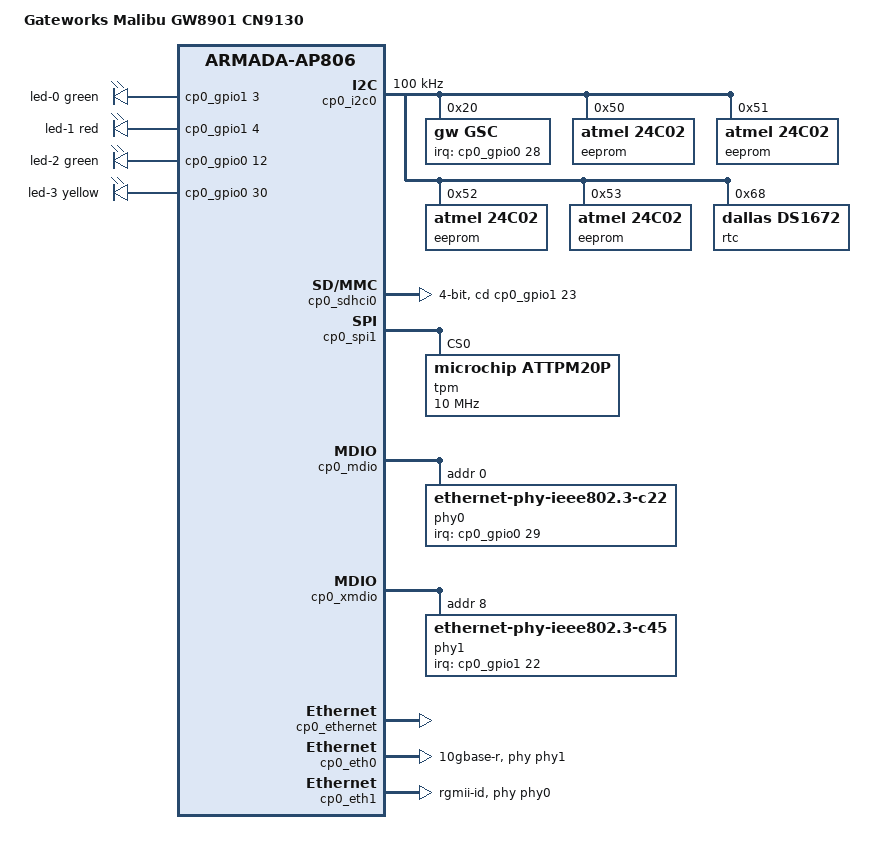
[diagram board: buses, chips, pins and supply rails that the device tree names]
// SPDX-License-Identifier: GPL-2.0+
/*
 * Copyright (C) 2022 Gateworks Corporation
 */

#include "cn9130-malibu.dtsi"
#include <dt-bindings/gpio/gpio.h>
#include <dt-bindings/leds/common.h>

/ {
	model = "Gateworks Malibu GW8901 CN9130";
	compatible = "gateworks,gw8901",
		"marvell,cn9130",
		"marvell,armada-ap806-quad",
		"marvell,armada-ap806";

	aliases {
		i2c0 = &cp0_i2c0;
		ethernet0 = &cp0_eth0;
		ethernet1 = &cp0_eth1;
		gpio0 = &ap_gpio0;
		gpio1 = &cp0_gpio0;
		gpio2 = &cp0_gpio1;
	};

	led-controller {
		pinctrl-names = "default";
		pinctrl-0 = <&cp0_led_pins>;
		compatible = "gpio-leds";

		led-0 {
			function = LED_FUNCTION_HEARTBEAT;
			color = <LED_COLOR_ID_GREEN>;
			gpios = <&cp0_gpio1 3 GPIO_ACTIVE_HIGH>; /* CP_MPP[35] */
			default-state = "on";
			linux,default-trigger = "heartbeat";
		};

		led-1 {
			function = LED_FUNCTION_STATUS;
			color = <LED_COLOR_ID_RED>;
			gpios = <&cp0_gpio1 4 GPIO_ACTIVE_HIGH>; /* CP_MPP[36] */
			default-state = "off";
		};

		led-2 {
			function = LED_FUNCTION_STATUS;
			color = <LED_COLOR_ID_GREEN>;
			gpios = <&cp0_gpio0 12 GPIO_ACTIVE_HIGH>; /* CP_MPP[12] */
			default-state = "off";
		};

		led-3 {
			function = LED_FUNCTION_STATUS;
			color = <LED_COLOR_ID_YELLOW>;
			gpios = <&cp0_gpio0 30 GPIO_ACTIVE_HIGH>; /* CP_MPP[30] */
			default-state = "off";
		};
	};
};

&cp0_comphy {
	phy0 {
		phy-type = <COMPHY_TYPE_PEX0>;
	};

	phy1 {
		phy-type = <COMPHY_TYPE_PEX0>;
	};

	phy2 {
		phy-type = <COMPHY_TYPE_PEX0>;
	};

	phy3 {
		phy-type = <COMPHY_TYPE_PEX0>;
	};

	phy4 {
		phy-type = <COMPHY_TYPE_SFI0>;
		phy-speed = <COMPHY_SPEED_10_3125G>;
	};
};
		
&cp0_pcie0 {
	num-lanes = <4>;
		/* non-prefetchable memory */
	ranges =<0x82000000 0 0xc0000000 0 0xc0000000 0 0x2000000>;
	status = "disabled";
};

&cp0_pinctl {
	/* MPP Bus:
	 *  [0-11]	RGMII1 (3)
	 *  [12-33]	GPIO (0)
	 *  [34]	PCIE0_CLKREQn (9)
	 *  [35-36]	GPIO (0)
	 *  [37-38]	I2C (2)
	 *  [39]	GPIO (0)
	 *  [40-43]	SMI/XMI (8)
	 *  [44-46]	GPIO (0)
	 *  [47-50]	SPI (5)
	 *  [51]	GPIO (0)
	 *  [52]	PCIE_RSTn (9)
	 *  [53-54]	GPIO (0)
	 *  [55]	SD_DET (0xb)
	 *  [56-62]	SDIO (0xe)
	 */
		/*   0   1   2   3   4   5   6   7   8   9 */
	pin-func = < 3   3   3   3   3   3   3   3   3   3
		     3   3   0   0   0   0   0   0   0   0
		     0   0   0   0   0   0   0   0   0   0
		     0   0   0   0   9   0   0   2   2   0
		     8   8   8   8   0   0   0   5   5   5
		     5   0   0   0   0   0xb 0xe 0xe 0xe 0xe
		     0xe 0xe 0xe>;

	cp0_gsc_pins: cp0-gsc-pins-0 {
		marvell,pins = < 28 >;
		marvell,function = <0>;
	};

	cp0_led_pins: cp0-led-pins-0 {
		marvell,pins = < 12 30 35 36 >;
		marvell,function = <0>;
	};

	cp0_sdhci_cd_pins_gw8901: cp0-sdhci-cd-pins-gw8901 {
		marvell,pins = < 55 >;
		marvell,function = <0>;
	};

	cp0_spi1_pins_gw8901: cp0-spi-pins-1-gw8901 {
		marvell,pins = < 47 48 49 50 >;
		marvell,function = <6>;
	};

	cp0_smi_pins_gw8901: cp0-smi-pins-gw8901 {
		marvell,pins = < 40 41 >;
		marvell,function = <8>;
	};

	cp0_xsmi_pins_gw8901: cp0-xsmi-pins-gw8901 {
		marvell,pins = < 42 43 >;
		marvell,function = <8>;
	};
};

&cp0_i2c0 {
	pinctrl-names = "default";
	pinctrl-0 = <&cp0_i2c0_pins>;
	status = "okay";
	clock-frequency = <100000>;

	gsc: gsc@20 {
		pinctrl-names = "default";
		pinctrl-0 = <&cp0_gsc_pins>;
		compatible = "gw,gsc";
		reg = <0x20>;
		interrupt-parent = <&cp0_gpio0>;
		interrupts = <28 IRQ_TYPE_EDGE_FALLING>;
		interrupt-controller;
		#interrupt-cells = <1>;

		adc {
			compatible = "gw,gsc-adc";
			#address-cells = <1>;
			#size-cells = <0>;

			channel@6 {
				gw,mode = <0>;
				reg = <0x06>;
				label = "temp";
			};

			channel@16 {
				gw,mode = <4>;
				reg = <0x16>;
				label = "fan_tach";
			};

			channel@82 {
				gw,mode = <2>;
				reg = <0x82>;
				label = "vdd_5p0";
				gw,voltage-divider-ohms = <10000 10000>;
			};

			channel@84 {
				gw,mode = <2>;
				reg = <0x84>;
				label = "vdd_3p3";
				gw,voltage-divider-ohms = <10000 10000>;
			};

			channel@86 {
				gw,mode = <2>;
				reg = <0x86>;
				label = "vdd_2p5";
				gw,voltage-divider-ohms = <10000 10000>;
			};

			channel@88 {
				gw,mode = <2>;
				reg = <0x88>;
				label = "vdd_2p0";
			};

			channel@8c {
				gw,mode = <2>;
				reg = <0x8c>;
				label = "vdd_1p8";
			};

			channel@8e {
				gw,mode = <2>;
				reg = <0x8e>;
				label = "vdd_1p2";
			};

			channel@90 {
				gw,mode = <2>;
				reg = <0x90>;
				label = "vdd_ap";
			};

			channel@92 {
				gw,mode = <2>;
				reg = <0x92>;
				label = "vdd_0p7";
			};

			channel@94 {
				gw,mode = <2>;
				reg = <0x94>;
				label = "vdd_1p0";
			};
		};

		fan-controller@2c {
			#address-cells = <1>;
			#size-cells = <0>;
			compatible = "gw,gsc-fan";
			reg = <0x0a>;
		};
	};

	eeprom@50 {
		compatible = "atmel,24c02";
		reg = <0x50>;
		pagesize = <16>;
	};

	eeprom@51 {
		compatible = "atmel,24c02";
		reg = <0x51>;
		pagesize = <16>;
	};

	eeprom@52 {
		compatible = "atmel,24c02";
		reg = <0x52>;
		pagesize = <16>;
	};

	eeprom@53 {
		compatible = "atmel,24c02";
		reg = <0x53>;
		pagesize = <16>;
	};

	rtc@68 {
		compatible = "dallas,ds1672";
		reg = <0x68>;
	};
};

/* microSD */
&cp0_sdhci0 {
	pinctrl-names = "default";
	pinctrl-0 = <&cp0_sdhci_pins
		     &cp0_sdhci_cd_pins_gw8901>;
	bus-width = <4>;
	cd-gpios = <&cp0_gpio1 23 GPIO_ACTIVE_HIGH>; /* CP_MPP[55] */
	no-1-8-v;
	status = "okay";
};

&cp0_spi1 {
	pinctrl-names = "default";
	pinctrl-0 = <&cp0_spi1_pins_gw8901>;
	reg = <0x700680 0x50>,		/* control */
	      <0x2000000 0x1000000>;	/* CS0 */
	status = "okay";

	tpm@0 {
		compatible = "microchip,attpm20p", "tcg,tpm_tis-spi";
		reg = <0x0>;
		spi-max-frequency = <10000000>;
		// IRQ is CP_MPP[58]
	};
};

&cp0_mdio {
	pinctrl-names = "default";
	pinctrl-0 = <&cp0_smi_pins_gw8901>;
	status = "okay";

	phy0: ethernet-phy@0 {
		compatible = "ethernet-phy-ieee802.3-c22";
		interrupt-parent = <&cp0_gpio0>;
		interrupts = <29 IRQ_TYPE_LEVEL_LOW>;
		reg = <0>;
	};
};

&cp0_xmdio {
	pinctrl-names = "default";
	pinctrl-0 = <&cp0_xsmi_pins_gw8901>;
	status = "okay";

	phy1: ethernet-phy@8 {
		compatible = "ethernet-phy-ieee802.3-c45";
		interrupt-parent = <&cp0_gpio1>;
		interrupts = <22 IRQ_TYPE_LEVEL_LOW>;
		reg = <8>;
	};
};

&cp0_ethernet {
	status = "okay";
};

/* 10GbE XFI AQR113C */
&cp0_eth0 {
	status = "okay";
	phy = <&phy1>;
	phy-mode = "10gbase-r";
};

/* 1GbE RGMII GPY111 */
&cp0_eth1 {
	status = "okay";
	phy = <&phy0>;
	phy-mode = "rgmii-id";
};
